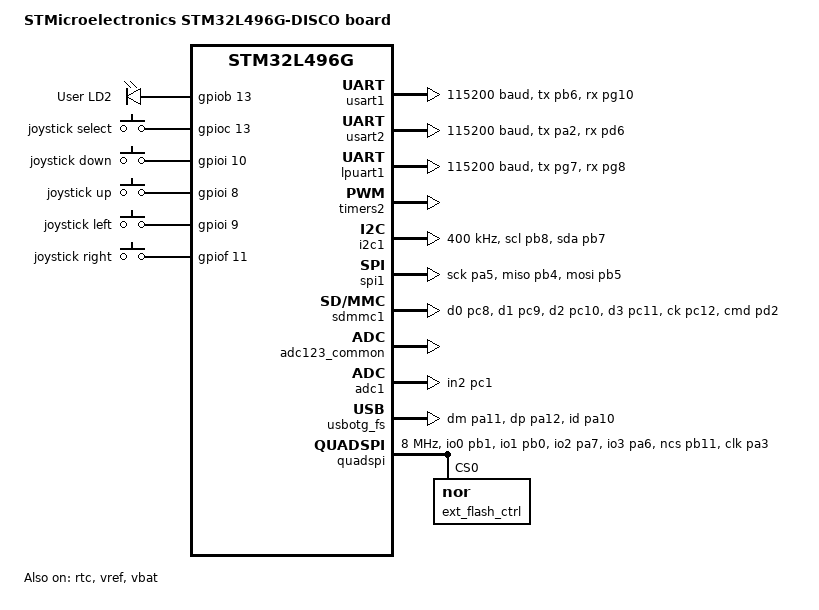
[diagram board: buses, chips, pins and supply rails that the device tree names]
/*
 * Copyright (c) 2017 Linaro Limited
 *
 * SPDX-License-Identifier: Apache-2.0
 */

/dts-v1/;
#include <st/l4/stm32l496Xg.dtsi>
#include <st/l4/stm32l496a(e-g)ix-pinctrl.dtsi>
#include "arduino_r3_connector.dtsi"
#include <zephyr/dt-bindings/input/input-event-codes.h>

/ {
	model = "STMicroelectronics STM32L496G-DISCO board";
	compatible = "st,stm32l496g-disco";

	chosen {
		zephyr,console = &usart2;
		zephyr,shell-uart = &usart2;
		zephyr,sram = &sram0;
		zephyr,flash = &flash0;
		zephyr,flash-controller = &ext_flash_ctrl;
	};

	leds {
		compatible = "gpio-leds";

		green_led_2: led_2 {
			gpios = <&gpiob 13 GPIO_ACTIVE_HIGH>;
			label = "User LD2";
		};
	};

	gpio_keys {
		compatible = "gpio-keys";

		joy_sel: joystick_select {
			label = "joystick select";
			gpios = <&gpioc 13 (GPIO_ACTIVE_HIGH | GPIO_PULL_DOWN)>;
			zephyr,code = <INPUT_KEY_ENTER>;
		};

		joy_down: joystick_down {
			label = "joystick down";
			gpios = <&gpioi 10 (GPIO_ACTIVE_HIGH | GPIO_PULL_DOWN)>;
			zephyr,code = <INPUT_KEY_DOWN>;
		};

		joy_up: joystick_up {
			label = "joystick up";
			gpios = <&gpioi 8 (GPIO_ACTIVE_HIGH | GPIO_PULL_DOWN)>;
			zephyr,code = <INPUT_KEY_UP>;
		};

		joy_left: joystick_left {
			label = "joystick left";
			gpios = <&gpioi 9 (GPIO_ACTIVE_HIGH | GPIO_PULL_DOWN)>;
			zephyr,code = <INPUT_KEY_LEFT>;
		};

		joy_right: joystick_right {
			label = "joystick right";
			gpios = <&gpiof 11 (GPIO_ACTIVE_HIGH | GPIO_PULL_DOWN)>;
			zephyr,code = <INPUT_KEY_RIGHT>;
		};
	};

	aliases {
		led0 = &green_led_2;
		sw0 = &joy_sel;
		sw1 = &joy_down;
		sw2 = &joy_right;
		sw3 = &joy_up;
		sw4 = &joy_left;
		volt-sensor0 = &vref;
		volt-sensor1 = &vbat;
		ext-nor0 = &ext_flash_ctrl;
	};
};

&clk_lsi {
	status = "okay";
};

&clk_hsi48 {
	status = "okay";
};

&clk_hsi {
	status = "okay";
};

&pll {
	div-m = <1>;
	mul-n = <20>;
	div-p = <7>;
	div-q = <2>;
	div-r = <4>;
	clocks = <&clk_hsi>;
	status = "okay";
};

&rcc {
	clocks = <&pll>;
	clock-frequency = <DT_FREQ_M(80)>;
	ahb-prescaler = <1>;
	apb1-prescaler = <1>;
	apb2-prescaler = <1>;
};

&usart1 {
	pinctrl-0 = <&usart1_tx_pb6 &usart1_rx_pg10>;
	pinctrl-names = "default";
	current-speed = <115200>;
	status = "okay";
};

&usart2 {
	pinctrl-0 = <&usart2_tx_pa2 &usart2_rx_pd6>;
	pinctrl-names = "default";
	current-speed = <115200>;
	status = "okay";
};

&lpuart1 {
	pinctrl-0 = <&lpuart1_tx_pg7 &lpuart1_rx_pg8>;
	pinctrl-names = "default";
	current-speed = <115200>;
	status = "okay";
};

&timers2 {
	status = "okay";

	pwm2: pwm {
		status = "okay";
		pinctrl-0 = <&tim2_ch1_pa0>;
		pinctrl-names = "default";
	};
};

&i2c1 {
	pinctrl-0 = <&i2c1_scl_pb8 &i2c1_sda_pb7>;
	pinctrl-names = "default";
	scl-gpios = <&gpiob 8 GPIO_ACTIVE_HIGH>;
	sda-gpios = <&gpiob 7 GPIO_ACTIVE_HIGH>;
	status = "okay";
	clock-frequency = <I2C_BITRATE_FAST>;
};

&spi1 {
	pinctrl-0 = <&spi1_sck_pa5 &spi1_miso_pb4 &spi1_mosi_pb5>;
	pinctrl-names = "default";
	cs-gpios = <&gpioa 15 (GPIO_ACTIVE_LOW | GPIO_PULL_UP)>;
	status = "okay";
};

&rtc {
	clocks = <&rcc STM32_CLOCK(APB1, 28)>,
		 <&rcc STM32_SRC_LSI RTC_SEL(2)>;
	status = "okay";
};

&sdmmc1 {
	pinctrl-0 = <&sdmmc1_d0_pc8 &sdmmc1_d1_pc9
		     &sdmmc1_d2_pc10 &sdmmc1_d3_pc11
		     &sdmmc1_ck_pc12 &sdmmc1_cmd_pd2>;
	pinctrl-names = "default";
	disk-name = "SD";
	status = "okay";
};

&adc123_common {
	st,adc-clock-source = "SYNC";
	st,adc-prescaler = <4>;
	status = "okay";
};

&adc1 {
	pinctrl-0 = <&adc1_in2_pc1>;
	pinctrl-names = "default";
	status = "okay";
};

zephyr_udc0: &usbotg_fs {
	pinctrl-0 = <&usb_otg_fs_dm_pa11 &usb_otg_fs_dp_pa12
		     &usb_otg_fs_id_pa10>;
	pinctrl-names = "default";
	status = "okay";
};

&vref {
	status = "okay";
};

&vbat {
	status = "okay";
};

&dma2 {
	status = "okay";
};

&quadspi {
	compatible = "st,stm32-qspi-controller";
	clock-names = "qspix";
	clock-frequency = <DT_FREQ_M(8)>;
	op-mode = "MSPI_OP_MODE_CONTROLLER";
	st,cs-high-time = <3>; /* >= 30 ns */
	pinctrl-0 = <&quadspi_bk1_io0_pb1 &quadspi_bk1_io1_pb0
		     &quadspi_bk1_io2_pa7 &quadspi_bk1_io3_pa6
		     &quadspi_bk1_ncs_pb11 &quadspi_clk_pa3>;
	pinctrl-names = "default";

	dmas = <&dma2 7 3 STM32_DMA_PERIPH_RX>; /* channel 7 request 3 on DMA2 */
	dma-names = "tx_rx";

	status = "okay";

	ext_flash_ctrl: nor-flash-controller@0 {
		compatible = "jedec,nor";
		reg = <0>;
		size = <DT_SIZE_M(64)>; /* 64 Mbits */
		jedec-id = [c2 28 17]; /* MX25R6435F */
		sfdp-bfp = [e5 20 f1 ff ff ff ff 03
			    44 eb 08 6b 08 3b 04 bb
			    ee ff ff ff ff ff 00 ff
			    ff ff 00 ff 0c 20 0f 52
			    10 d8 00 ff 23 72 f5 00
			    82 ed 04 cc 44 83 68 44
			    30 b0 30 b0 f7 c4 d5 5c
			    00 be 29 ff f0 d0 ff ff];
		mspi-max-frequency = <DT_FREQ_M(8)>;
		mspi-io-mode = "MSPI_IO_MODE_QUAD_1_4_4";
		mspi-data-rate = "MSPI_DATA_RATE_SINGLE";
		mspi-hardware-ce-num = <0>;
		status = "okay";
	};
};
